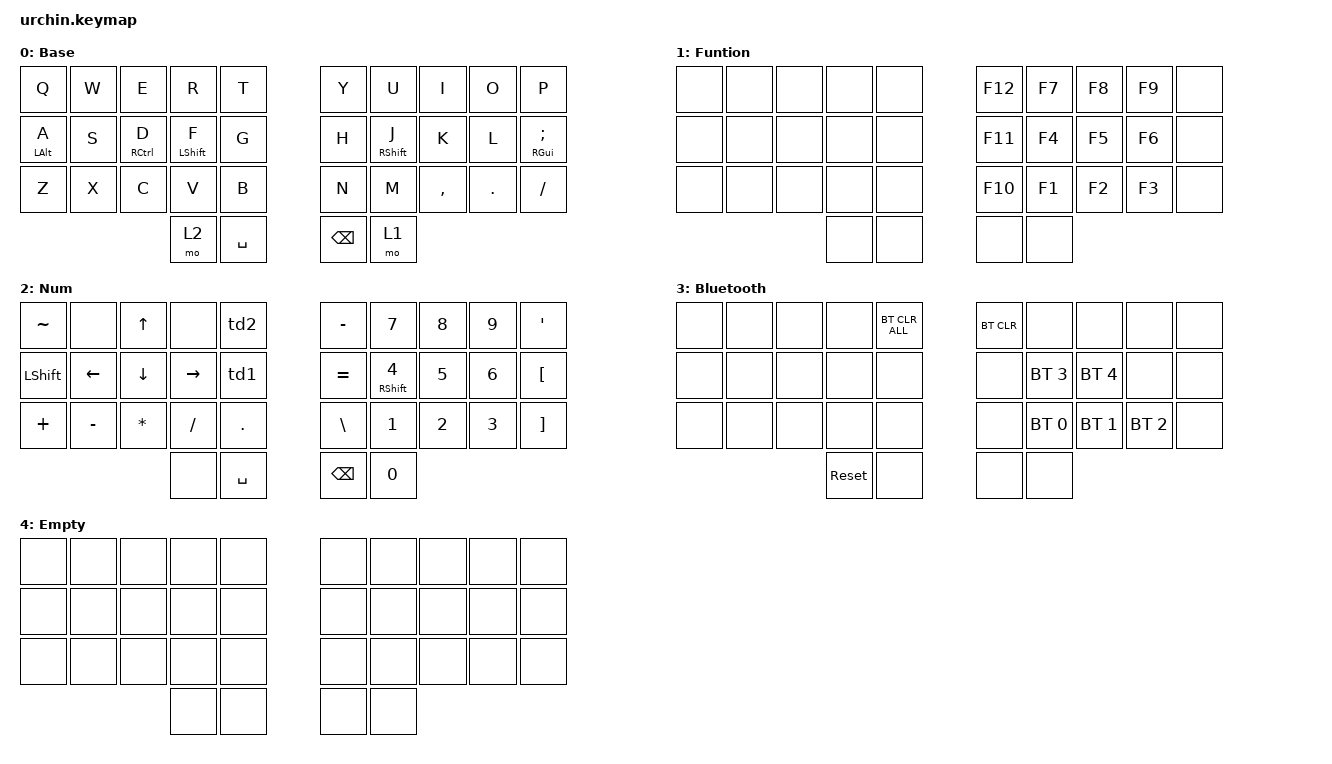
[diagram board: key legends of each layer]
/*
 * Copyright (c) 2020 duckyb
 *
 * SPDX-License-Identifier: MIT
 */

#include <behaviors.dtsi>
#include <dt-bindings/zmk/bt.h>
#include <dt-bindings/zmk/keys.h>
#include "keymap_italian.h"

// Layer definitions

#define BASE 0
#define SYM 1
#define EXT 2
#define FNC 3
#define SYM2 4
#define ACCENT 5
#define SETTINGS 6

// -----------------

&sk {
    // don't release mods on other mods presses

    ignore-modifiers;
};

&lt {
    tapping-term-ms = <200>;
    quick-tap-ms = <150>;
    flavor = "balanced";
};

/ {
    behaviors {
        // Enables holding the first mod-tap key
        // by performing a tap-release-hold sequence.
        // To use it: "&qt KEYCODE1 KEYCODE2"

        hr: homerow {
            compatible = "zmk,behavior-hold-tap";
            label = "HOMEROW";
            bindings = <&kp>, <&kp>;

            #binding-cells = <2>;
            tapping-term-ms = <180>;
            quick-tap-ms = <130>;
            require-prior-idle-ms = <0>;
            flavor = "tap-preferred";
        };

        ht: holdtap {
            compatible = "zmk,behavior-hold-tap";
            label = "HOLDTAP";
            bindings = <&kp>, <&kp>;

            #binding-cells = <2>;
            tapping-term-ms = <130>;
            quick-tap-ms = <100>;
            require-prior-idle-ms = <0>;
            flavor = "balanced";
        };

        td2: tapdance2 {
            compatible = "zmk,behavior-tap-dance";
            label = "TAPDANCE2";
            #binding-cells = <0>;
            bindings = <&Domain>;
            tapping-term-ms = <300>;
        };

        td1: tapdance1 {
            compatible = "zmk,behavior-tap-dance";
            label = "TAPDANCE1";
            #binding-cells = <0>;
            bindings = <&PW1>, <&PW2>, <&PW3>;

            tapping-term-ms = <300>;
        };
    };

    macros {
        // sometimes my device thinks a modifier is being held down
        // pressing all modifiers fixes it.

        PW1: PW1 {
            compatible = "zmk,behavior-macro";
            #binding-cells = <0>;
            bindings = <&kp N2 &kp N0 &kp N2 &kp N2 &kp N0 &kp N9 &kp N0 &kp N1 &kp Q &kp EXCL &kp AT &kp POUND>;
            label = "PW1";
        };

        PW2: PW2 {
            compatible = "zmk,behavior-macro";
            #binding-cells = <0>;
            bindings = <&kp N0 &kp T &kp N0 &kp L &kp E &kp R &kp AT &kp N &kp C &kp E>;
            label = "PW2";
        };

        PW3: PW3 {
            compatible = "zmk,behavior-macro";
            #binding-cells = <0>;
            bindings = <&kp AT &kp E &kp L &kp V &kp H &kp X &kp K &kp D &kp L &kp A>;
            label = "PW3";
        };

        Domain: Domain {
            compatible = "zmk,behavior-macro";
            #binding-cells = <0>;
            bindings = <&kp O &kp F &kp F &kp I &kp C &kp E &kp D &kp E &kp P &kp O &kp T &kp DOT &kp C &kp O &kp DOT &kp K &kp R>;
            label = "DOMAIN";
        };
    };

    combos {
        compatible = "zmk,combos";

        // both right thumb keys
        // internal-left & external-right thumb keys
        // both left thumb keys
        // left index & middle fingers (home-row)
        // hold control & space for Adobe workflow

        LANGchange_combo {
            bindings = <&kp LANGUAGE_1>;
            key-positions = <17 18>;
            timeout-ms = <40>;
            require-prior-idle-ms = <120>;
            slow-release;
            layers = <0>;
        };

        ESC_combo {
            bindings = <&kp ESCAPE>;
            key-positions = <0 1>;
            timeout-ms = <40>;
            require-prior-idle-ms = <120>;
            slow-release;
        };

        TAB_combo {
            bindings = <&kp TAB>;
            key-positions = <10 11>;
            timeout-ms = <40>;
            require-prior-idle-ms = <120>;
        };

        ENTER_combo {
            bindings = <&kp ENTER>;
            key-positions = <16 17>;
            timeout-ms = <50>;
            require-prior-idle-ms = <50>;
            slow-release;
        };

        COPY_combo {
            bindings = <&kp LC(C)>;
            key-positions = <12 13>;
            timeout-ms = <50>;
            require-prior-idle-ms = <120>;
            slow-release;
        };

        PASTE_combo {
            bindings = <&kp LC(V)>;
            key-positions = <12 23>;
            timeout-ms = <50>;
            require-prior-idle-ms = <120>;
            slow-release;
        };

        momentary_layer_bluetooth {
            bindings = <&mo 3>;
            key-positions = <20 21 22 23>;
            layers = <0>;
        };

        Capture_combo {
            bindings = <&kp LS(LG(S))>;
            key-positions = <1 2 3>;
            timeout-ms = <50>;
            require-prior-idle-ms = <120>;
            slow-release;
        };

        DEL_combo {
            bindings = <&kp DELETE>;
            key-positions = <5 6>;
        };

        F2_Combo {
            bindings = <&kp F2>;
            key-positions = <3 4>;
            timeout-ms = <50>;
            require-prior-idle-ms = <120>;
            slow-release;
            layers = <0>;
        };

        Bootloder_combo {
            bindings = <&bootloader>;
            key-positions = <31 32>;
            layers = <3>;
        };

        COLON_Combo {
            bindings = <&kp COLON>;
            key-positions = <26 27>;
            timeout-ms = <50>;
            require-prior-idle-ms = <120>;
            slow-release;
            layers = <2>;
        };
    };

    keymap {
        compatible = "zmk,keymap";

        // Base alpha layer

        Base {
            label = "Base";
            bindings = <
&kp Q           &kp W  &kp E                &kp R             &kp T      &kp Y          &kp U              &kp I      &kp O    &kp P
&hr LEFT_ALT A  &kp S  &hr RIGHT_CONTROL D  &hr LEFT_SHIFT F  &kp G      &kp H          &hr RIGHT_SHIFT J  &kp K      &kp L    &hr RIGHT_GUI SEMICOLON
&kp Z           &kp X  &kp C                &kp V             &kp B      &kp N          &kp M              &kp COMMA  &kp DOT  &kp SLASH
                                            &mo 2             &kp SPACE  &kp BACKSPACE  &mo 1
            >;
        };

        // Numbers and high frequency symbols
        // Main modifiers and arrow keys
        // Function keys with modifiers
        // Low frequency symbols.
        // Used to type regional accents.

        Funtion {
            label = "Funtion";
            bindings = <
&none  &none  &none  &none  &none  &kp F12  &kp F7  &kp F8  &kp F9  &none
&none  &none  &none  &none  &none  &kp F11  &kp F4  &kp F5  &kp F6  &none
&none  &none  &none  &none  &none  &kp F10  &kp F1  &kp F2  &kp F3  &none
                     &none  &none  &none    &none
            >;
        };

        // Used to change the keyboard's settings.

        Num {
            label = "Num";
            bindings = <
&kp TILDE       &none           &kp UP_ARROW    &none            &td2       &kp MINUS      &kp N7                    &kp N8  &kp N9  &kp SQT
&kp LEFT_SHIFT  &kp LEFT_ARROW  &kp DOWN_ARROW  &kp RIGHT_ARROW  &td1       &kp EQUAL      &hr RIGHT_SHIFT NUMBER_4  &kp N5  &kp N6  &kp LBKT
&kp PLUS        &kp MINUS       &kp ASTERISK    &kp SLASH        &kp DOT    &kp BSLH       &kp N1                    &kp N2  &kp N3  &kp RBKT
                                                &none            &kp SPACE  &kp BACKSPACE  &kp N0
            >;
        };

        Bluetooth {
            label = "Bluetooth";
            bindings = <
&none  &none  &none  &none       &bt BT_CLR_ALL  &bt BT_CLR  &none         &none         &none         &none
&none  &none  &none  &none       &none           &none       &bt BT_SEL 3  &bt BT_SEL 4  &none         &none
&none  &none  &none  &none       &none           &none       &bt BT_SEL 0  &bt BT_SEL 1  &bt BT_SEL 2  &none
                     &sys_reset  &none           &none       &none
            >;
        };

        Empty {
            label = "Empty";
            bindings = <
&none  &none  &none  &none  &none  &none  &none  &none  &none  &none
&none  &none  &none  &none  &none  &none  &none  &none  &none  &none
&none  &none  &none  &none  &none  &none  &none  &none  &none  &none
                     &none  &none  &none  &none
            >;
        };
    };
};
